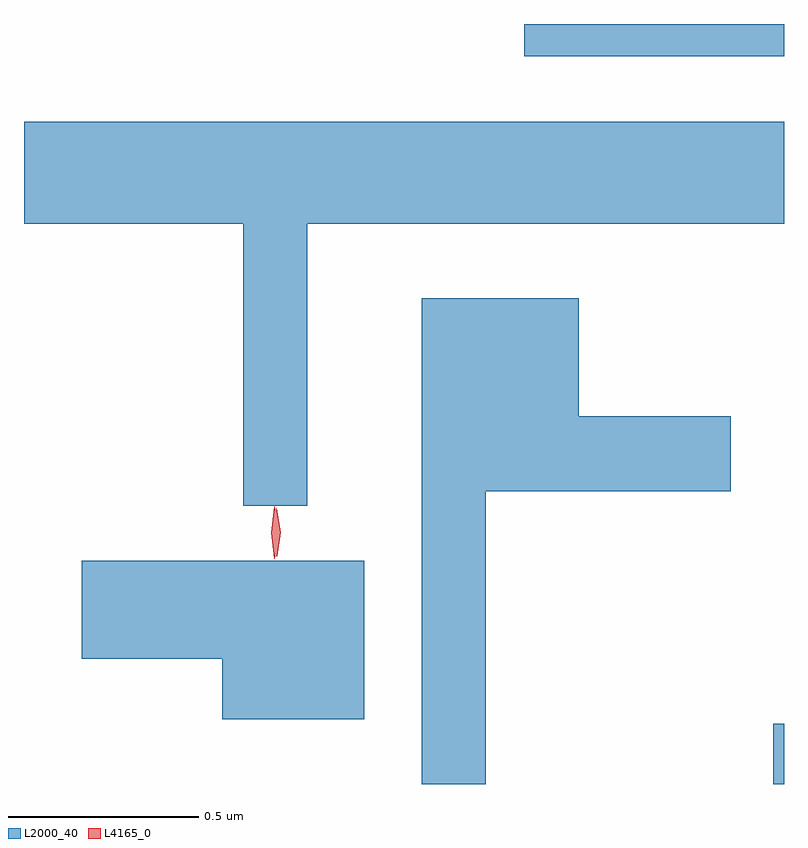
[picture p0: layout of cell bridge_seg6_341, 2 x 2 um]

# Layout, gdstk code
import gdstk
lib = gdstk.Library(unit=1e-6, precision=1e-09)
def R(c, l, rs):  # rectangles x0, y0, x1, y1
    for r in rs: c.add(gdstk.rectangle(r[:2], r[2:], *l))
def P(c, l, *ps):  # polygons
    for p in ps: c.add(gdstk.Polygon(p, *l))
L2000_40 = (2000, 40)
L4165_0 = (4165, 0)

bridge_seg6_341 = lib.new_cell('bridge_seg6_341')
R(bridge_seg6_341, L2000_40, [(1270.136,1530.801,1270.164,1530.959), (1269.481,1532.716,1270.164,1532.801)])
P(bridge_seg6_341, L2000_40, [(1268.909,1532.276),(1270.164,1532.276),(1270.164,1532.544),(1268.164,1532.544),(1268.164,1532.276),(1268.741,1532.276),(1268.741,1531.533),(1268.909,1531.533)],
  [(1269.379,1531.571),(1270.024,1531.571),(1270.024,1531.769),(1269.624,1531.769),(1269.624,1532.079),(1269.211,1532.079),(1269.211,1530.801),(1269.379,1530.801)],
  [(1269.059,1531.389),(1268.316,1531.389),(1268.316,1531.131),(1268.686,1531.131),(1268.686,1530.971),(1269.059,1530.971)])
P(bridge_seg6_341, L4165_0, [(1268.823,1531.394),(1268.814,1531.462),(1268.823,1531.53),(1268.823,1531.53),(1268.824,1531.53),(1268.833,1531.462),(1268.824,1531.394),(1268.824,1531.394)],
  [(1268.828,1531.4),(1268.819,1531.464),(1268.828,1531.526),(1268.828,1531.527),(1268.829,1531.526),(1268.839,1531.464),(1268.83,1531.4),(1268.829,1531.4)])

lib.write_gds('bridge_seg6_341.gds')
